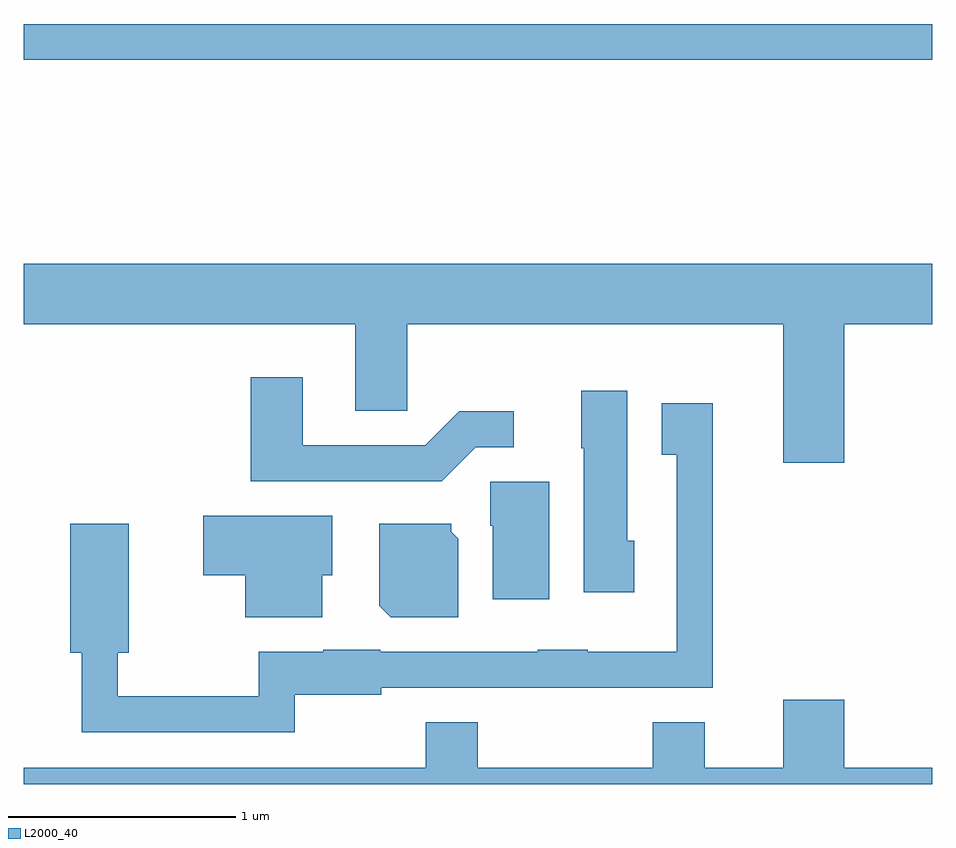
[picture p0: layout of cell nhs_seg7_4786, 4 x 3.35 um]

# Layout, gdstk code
import gdstk
lib = gdstk.Library(unit=1e-6, precision=1e-09)
def R(c, l, rs):  # rectangles x0, y0, x1, y1
    for r in rs: c.add(gdstk.rectangle(r[:2], r[2:], *l))
def P(c, l, *ps):  # polygons
    for p in ps: c.add(gdstk.Polygon(p, *l))
L2000_40 = (2000, 40)

nhs_seg7_4786 = lib.new_cell('nhs_seg7_4786')
R(nhs_seg7_4786, L2000_40, [(331.611,1755.441,335.611,1755.599)])
P(nhs_seg7_4786, L2000_40, [(335.224,1754.276),(335.611,1754.276),(335.611,1754.544),(331.611,1754.544),(331.611,1754.276),(333.071,1754.276),(333.071,1753.896),(333.299,1753.896),(333.299,1754.276),(334.956,1754.276),(334.956,1753.666),(335.224,1753.666)],
  [(333.602,1753.736),(333.768,1753.736),(333.768,1753.894),(333.529,1753.894),(333.379,1753.744),(332.839,1753.744),(332.839,1754.044),(332.611,1754.044),(332.611,1753.586),(333.452,1753.586)],
  [(334.299,1753.324),(334.269,1753.324),(334.269,1753.984),(334.066,1753.984),(334.066,1753.73),(334.076,1753.73),(334.076,1753.096),(334.299,1753.096)],
  [(332.804,1752.646),(333.184,1752.646),(333.184,1752.676),(334.644,1752.676),(334.644,1753.929),(334.421,1753.929),(334.421,1753.701),(334.486,1753.701),(334.486,1752.834),(334.095,1752.834),(334.095,1752.844),(333.875,1752.844),(333.875,1752.834),(333.18,1752.834),(333.18,1752.844),(332.93,1752.844),(332.93,1752.834),(332.646,1752.834),(332.646,1752.639),(332.024,1752.639),(332.024,1752.831),(332.074,1752.831),(332.074,1753.399),(331.816,1753.399),(331.816,1752.831),(331.866,1752.831),(331.866,1752.481),(332.804,1752.481)],
  [(333.924,1753.584),(333.666,1753.584),(333.666,1753.39),(333.676,1753.39),(333.676,1753.066),(333.924,1753.066)],
  [(332.924,1753.171),(332.969,1753.171),(332.969,1753.434),(332.401,1753.434),(332.401,1753.171),(332.586,1753.171),(332.586,1752.986),(332.924,1752.986)],
  [(333.524,1753.332),(333.494,1753.362),(333.494,1753.399),(333.176,1753.399),(333.176,1753.037),(333.227,1752.986),(333.524,1752.986)],
  [(335.611,1752.324),(335.224,1752.324),(335.224,1752.624),(334.956,1752.624),(334.956,1752.324),(334.609,1752.324),(334.609,1752.524),(334.381,1752.524),(334.381,1752.324),(333.609,1752.324),(333.609,1752.524),(333.381,1752.524),(333.381,1752.324),(331.611,1752.324),(331.611,1752.252),(335.611,1752.252)])

lib.write_gds('nhs_seg7_4786.gds')
